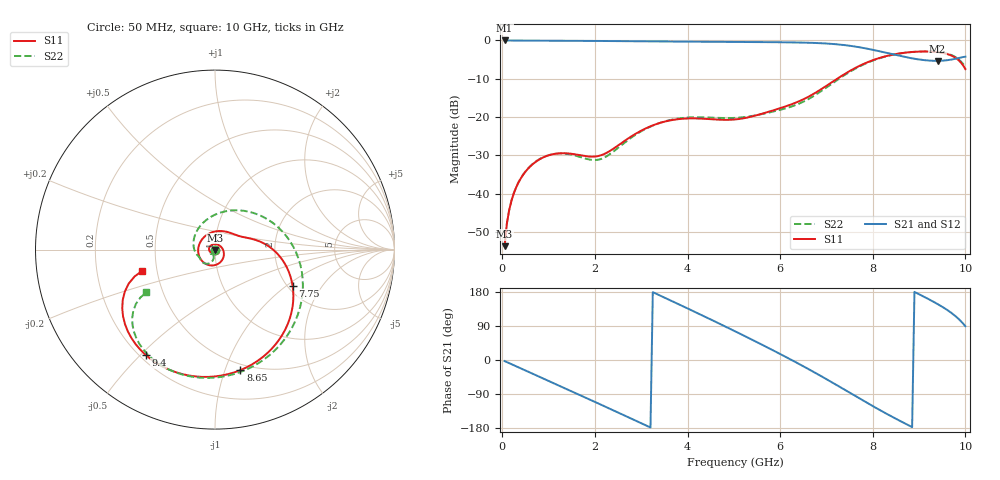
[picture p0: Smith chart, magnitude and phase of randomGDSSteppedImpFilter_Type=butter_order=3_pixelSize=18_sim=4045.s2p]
! freq	dB(S11)	phase(S11)	dB(S12)	phase(S12)
!  dB(S21)	phase(S21)	dB(S22)	phase(S22)
!S-par simulation data
#  GHz  S  DB  R 50
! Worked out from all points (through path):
!   200 points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, 50 MHz to 10 GHz, reference 50 ohm
!   highest |S21| = -0.01 dB at 50 MHz (marker M1); lowest = -5.3 dB at 9.4 GHz (marker M2)
!   group delay of S21, straight-line fit = 171 ps
!   lowest |S11| = -53.7 dB at 50 MHz (marker M3), VSWR 1.00, Z = 50 - j0.206 ohm
!   |S11| at or under -10 dB: start of sweep to 7.233 GHz
!   |S22| runs from -53.7 to -2.9 dB; largest |S21 - S12| = 0
!   S11 on the Smith chart (normalised r, x): 50 MHz: 1.00, -0.00; 7.75 GHz: 2.13, -1.11; 8.65 GHz: 0.45, -1.13; 9.4 GHz: 0.22, -0.52; 10 GHz: 0.41, -0.12
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0.05  -53.72 -91.0  -0.01 -2.8  -0.01 -2.8  -53.67 -89.4
0.1  -47.73 -95.7  -0.02 -5.6  -0.02 -5.6  -47.67 -92.7
0.2  -41.77 -103.4  -0.03 -11.1  -0.03 -11.1  -41.72 -97.3
0.55  -33.56 -129.0  -0.04 -30.4  -0.04 -30.4  -33.49 -111.4
1.2  -29.51 178.5  -0.08 -66.3  -0.08 -66.3  -29.54 -133.4
1.75  -30.12 118.1  -0.12 -96.7  -0.12 -96.7  -30.69 -135.8
2.15  -29.91 56.8  -0.14 -119.0  -0.14 -119.0  -30.88 -115.4
2.65  -26.16 -12.3  -0.19 -147.0  -0.19 -147.0  -26.60 -99.0
3.4  -21.56 -82.9  -0.27 170.5  -0.27 170.5  -21.54 -113.3
4.3  -20.42 -160.3  -0.34 118.7  -0.34 118.7  -20.07 -139.8
5.05  -20.61 122.8  -0.39 74.4  -0.39 74.4  -20.21 -154.4
5.45  -19.68 82.9  -0.42 50.1  -0.42 50.1  -19.61 -164.5
5.95  -17.89 46.3  -0.47 19.0  -0.47 19.0  -18.28 169.3
6.35  -16.18 28.9  -0.53 -6.6  -0.53 -6.6  -16.79 134.4
6.7  -14.11 19.0  -0.64 -29.9  -0.64 -29.9  -14.69 96.9
7.25  -9.86 0.3  -1.04 -68.2  -1.04 -68.2  -10.18 38.9
7.75  -6.43 -25.0  -1.86 -104.1  -1.86 -104.1  -6.58 -6.4
8.35  -3.92 -60.3  -3.40 -145.3  -3.40 -145.3  -3.98 -52.2
8.65  -3.27 -78.1  -4.21 -164.6  -4.21 -164.6  -3.29 -72.2
9.4  -3.07 -123.4  -5.33 147.6  -5.33 147.6  -3.00 -116.8
9.75  -4.27 -147.6  -4.88 119.3  -4.88 119.3  -4.11 -137.5
10  -7.48 -163.7  -4.24 89.1  -4.24 89.1  -6.93 -148.1
